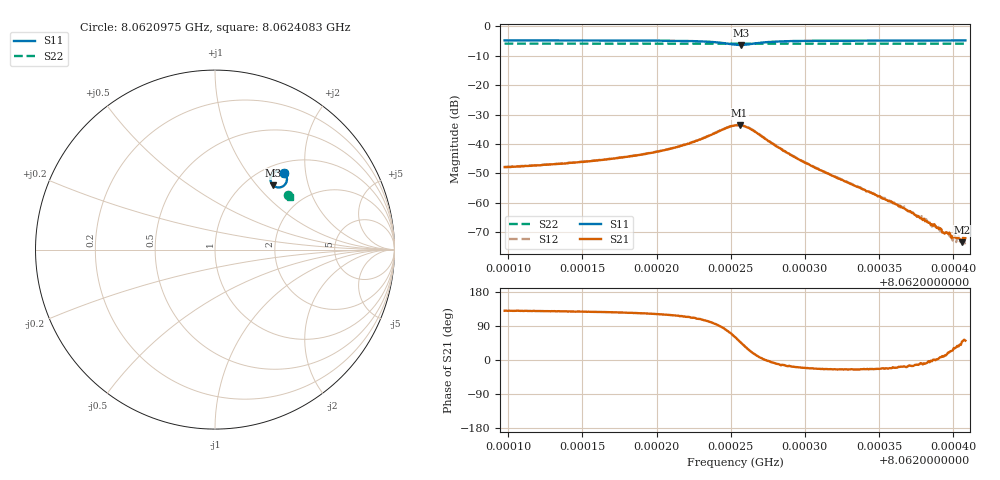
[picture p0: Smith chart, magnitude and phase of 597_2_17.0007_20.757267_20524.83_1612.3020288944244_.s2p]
#  HZ  S  RI  R  50.00
! Rohde & Schwarz Vector Network Analyzer
! Rohde-Schwarz,ZNB20-2Port,1311601062101988,3.16
! Created: UTC 3/20/2024, 11:18:52 PM
! freq[Hz]  re:S11  im:S11  re:S21  im:S21  re:S12  im:S12  re:S22  im:S22
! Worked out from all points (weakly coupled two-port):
!   401 points, 8.0620975 GHz to 8.0624083 GHz, reference 50 ohm
!   highest |S21| = -33.60 dB at 8.062256 GHz (marker M1); lowest = -73.4 dB at 8.062406 GHz (marker M2)
!   lowest |S11| = -6.3 dB at 8.0622568 GHz (marker M3), VSWR 2.87, Z = 65.3 + j61.1 ohm
!   |S11| at or under -10 dB: nowhere
!   |S22| runs from -5.9 to -5.9 dB; largest |S21 - S12| = 0.0013
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8.06209753e9  0.3838 0.4295  -0.0026 0.0031  -0.00244 0.00327  0.4065 0.3059
8.06214959e9  0.3892 0.4235  -0.00304 0.00393  -0.0028 0.0041  0.4084 0.3032
8.06217911e9  0.3934 0.4177  -0.00344 0.00493  -0.00316 0.00515  0.4095 0.3014
8.06220164e9  0.3973 0.4101  -0.00383 0.00644  -0.00348 0.00671  0.4104 0.3001
8.06222261e9  0.4007 0.395  -0.00402 0.00959  -0.00344 0.00987  0.4109 0.2983
8.06224126e9  0.3903 0.3629  -0.000679 0.0161  0.000245 0.0162  0.4107 0.2962
8.06225291e9  0.3433 0.3478  0.0102 0.018  0.0113 0.0176  0.4088 0.2955
8.06225602e9  0.3267 0.356  0.0137 0.0158  0.0146 0.0152  0.4082 0.2959
8.0622568e9  0.3229 0.3591  0.0144 0.015  0.0152 0.0142  0.4083 0.2962
8.06226379e9  0.3091 0.3952  0.0165 0.00663  0.0169 0.00583  0.4083 0.2977
8.06227467e9  0.3277 0.4291  0.0117 -0.000489  0.0117 -0.00116  0.41 0.2984
8.0622871e9  0.3481 0.4375  0.00713 -0.00192  0.00689 -0.00233  0.4114 0.2978
8.06230497e9  0.3636 0.4373  0.00389 -0.00156  0.00381 -0.00187  0.4128 0.2966
8.06235702e9  0.38 0.431  0.000993 -0.00039  0.000973 -0.000438  0.415 0.2938
8.06238033e9  0.3836 0.4288  0.000529 -8.01e-05  0.00055 -0.000101  0.416 0.2925
8.06238421e9  0.3842 0.4283  0.000457 -4.69e-05  0.000432 -0.000106  0.4161 0.2922
8.06239431e9  0.3853 0.4275  0.000293 6.27e-05  0.000328 2.35e-05  0.4164 0.2916
8.06239664e9  0.3856 0.4274  0.00028 0.000101  0.000295 5.86e-05  0.4163 0.2916
8.06239819e9  0.3859 0.4271  0.000263 0.000113  0.000254 6.91e-05  0.4165 0.2915
8.06240441e9  0.3865 0.4267  0.000187 0.000159  0.000183 0.000125  0.4168 0.2912
8.06240596e9  0.3867 0.4265  0.000143 0.000159  0.000155 0.000158  0.4168 0.2912
8.06240829e9  0.387 0.4265  0.000158 0.000196  0.000122 0.000136  0.4168 0.291
